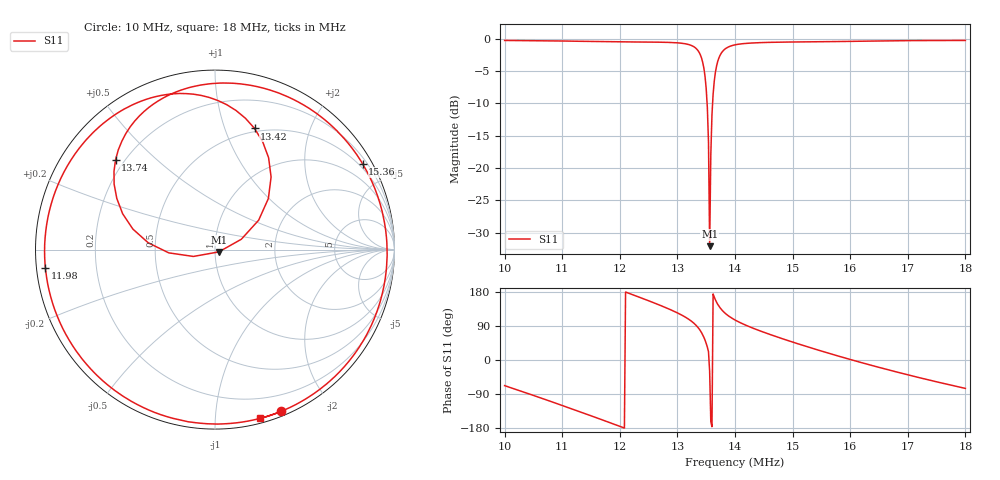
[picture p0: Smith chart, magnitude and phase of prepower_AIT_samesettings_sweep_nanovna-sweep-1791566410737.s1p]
! NanoVNA Web complex sweep
! Processing: original sample grid, no browser smoothing
# Hz S RI R 50
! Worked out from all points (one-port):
!   401 points, 10 MHz to 18 MHz, reference 50 ohm
!   lowest |S11| = -32.1 dB at 13.56 MHz (marker M1), VSWR 1.05, Z = 52.1 - j1.34 ohm
!   |S11| at or under -10 dB: 13.52 MHz to 13.61 MHz (95.37 kHz wide, 0.703 % of centre)
!   S11 on the Smith chart (normalised r, x): 10 MHz: 0.04, -1.49; 11.98 MHz: 0.03, -0.05; 13.42 MHz: 0.47, +1.27; 13.74 MHz: 0.17, +0.38; 15.36 MHz: 0.37, +3.69; 18 MHz: 0.04, -1.30
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1e7  0.3702 -0.9008
1.05e7  -0.0581 -0.9693
1.1e7  -0.4819 -0.8358
1.152e7  -0.8135 -0.5028
1.198e7  -0.945 -0.1015
1.2e7  -0.9467 -0.0828
1.252e7  -0.8588 0.3973
1.3e7  -0.5266 0.771
1.328e7  -0.12 0.8659
1.336e7  0.0657 0.8072
1.342e7  0.2203 0.675
1.346e7  0.2986 0.512
1.35e7  0.2974 0.2847
1.352e7  0.2433 0.1641
1.356e7  0.0212 -0.0128
1.36e7  -0.2575 -0.0182
1.362e7  -0.3719 0.0378
1.364e7  -0.4576 0.1144
1.374e7  -0.5541 0.5003
1.386e7  -0.4207 0.7454
1.4e7  -0.2422 0.8678
1.442e7  0.1997 0.9151
1.5e7  0.6427 0.6967
1.536e7  0.823 0.4767
1.6e7  0.958 0.0245
1.648e7  0.9147 -0.3084
1.7e7  0.754 -0.6124
1.8e7  0.253 -0.9405
